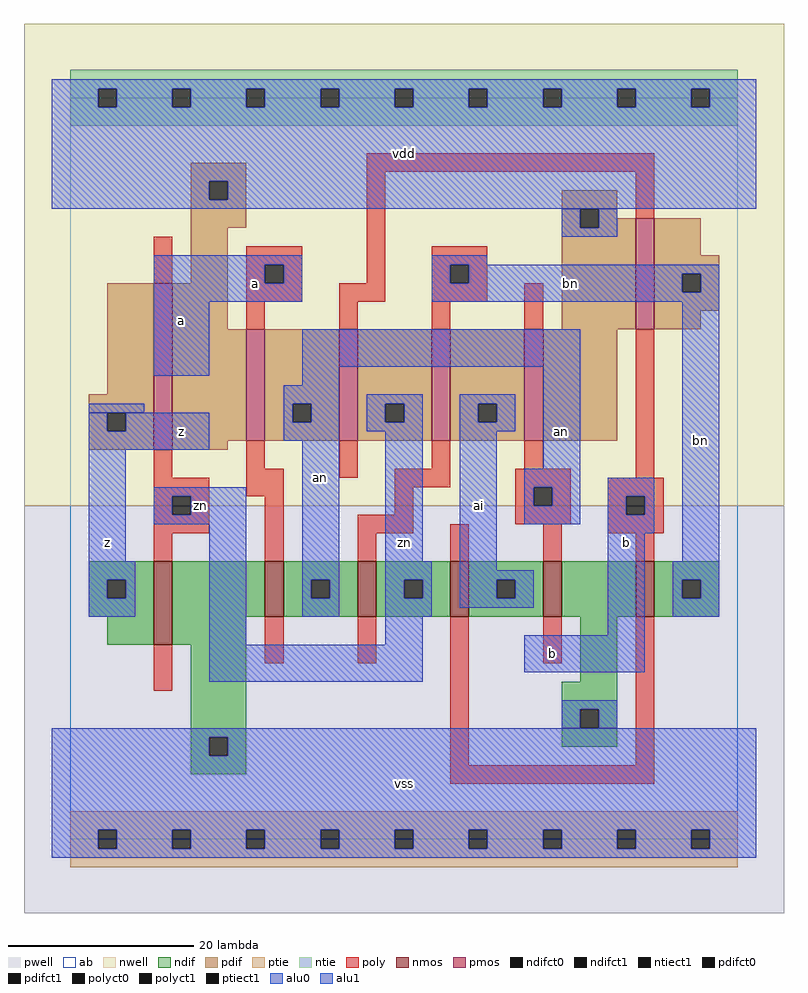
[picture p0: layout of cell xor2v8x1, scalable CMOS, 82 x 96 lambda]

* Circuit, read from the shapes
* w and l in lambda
.subckt xor2v8x1 a ai an b bn vdd vss z zn
M1 vss zn z vss nfet w=9 l=2
M2 an a vss vss nfet w=6 l=2
M3 zn bn an vss nfet w=6 l=2
M4 ai b zn vss nfet w=6 l=2
M5 vss an ai vss nfet w=6 l=2
M6 bn b vss vss nfet w=6 l=2
M7 vdd zn z vdd pfet w=18 l=2
M8 an a vdd vdd pfet w=12 l=2
M9 zn b an vdd pfet w=12 l=2
M10 ai bn zn vdd pfet w=12 l=2
M11 vdd an ai vdd pfet w=12 l=2
M12 bn b vdd vdd pfet w=12 l=2
.ends

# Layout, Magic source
magic
tech scmos
<< ab >>
rect 0 0 72 80
<< nwell >>
rect -5 36 77 88
<< pwell >>
rect -5 -8 77 36
<< poly >>
rect 32 72 63 74
rect 9 60 11 65
rect 19 62 25 64
rect 19 60 21 62
rect 23 60 25 62
rect 32 60 34 72
rect 61 67 63 72
rect 19 58 25 60
rect 29 58 34 60
rect 39 62 45 64
rect 39 60 41 62
rect 43 60 45 62
rect 39 58 45 60
rect 19 55 21 58
rect 29 55 31 58
rect 39 55 41 58
rect 49 55 51 60
rect 9 39 11 42
rect 19 40 21 43
rect 9 37 15 39
rect 19 37 23 40
rect 29 39 31 43
rect 39 40 41 43
rect 49 40 51 43
rect 9 35 11 37
rect 13 35 15 37
rect 9 33 15 35
rect 9 30 11 33
rect 21 30 23 37
rect 35 38 41 40
rect 48 38 54 40
rect 61 39 63 55
rect 35 35 37 38
rect 31 33 37 35
rect 48 36 50 38
rect 52 36 54 38
rect 48 34 54 36
rect 58 37 64 39
rect 58 35 60 37
rect 62 35 64 37
rect 31 30 33 33
rect 41 30 43 34
rect 51 30 53 34
rect 58 33 64 35
rect 61 30 63 33
rect 9 16 11 21
rect 21 19 23 24
rect 31 19 33 24
rect 41 8 43 24
rect 51 19 53 24
rect 61 8 63 24
rect 41 6 63 8
<< ndif >>
rect 2 28 9 30
rect 2 26 4 28
rect 6 26 9 28
rect 2 24 9 26
rect 4 21 9 24
rect 11 24 21 30
rect 23 28 31 30
rect 23 26 26 28
rect 28 26 31 28
rect 23 24 31 26
rect 33 28 41 30
rect 33 26 36 28
rect 38 26 41 28
rect 33 24 41 26
rect 43 28 51 30
rect 43 26 46 28
rect 48 26 51 28
rect 43 24 51 26
rect 53 24 61 30
rect 63 28 70 30
rect 63 26 66 28
rect 68 26 70 28
rect 63 24 70 26
rect 11 21 19 24
rect 13 11 19 21
rect 13 9 15 11
rect 17 9 19 11
rect 13 7 19 9
rect 55 17 59 24
rect 53 14 59 17
rect 53 12 55 14
rect 57 12 59 14
rect 53 10 59 12
<< pdif >>
rect 13 71 19 73
rect 13 69 15 71
rect 17 69 19 71
rect 13 66 19 69
rect 13 60 17 66
rect 4 48 9 60
rect 2 46 9 48
rect 2 44 4 46
rect 6 44 9 46
rect 2 42 9 44
rect 11 55 17 60
rect 53 68 59 70
rect 53 66 55 68
rect 57 67 59 68
rect 57 66 61 67
rect 53 55 61 66
rect 63 63 68 67
rect 63 61 70 63
rect 63 59 66 61
rect 68 59 70 61
rect 63 57 70 59
rect 63 55 68 57
rect 11 43 19 55
rect 21 47 29 55
rect 21 45 24 47
rect 26 45 29 47
rect 21 43 29 45
rect 31 47 39 55
rect 31 45 34 47
rect 36 45 39 47
rect 31 43 39 45
rect 41 47 49 55
rect 41 45 44 47
rect 46 45 49 47
rect 41 43 49 45
rect 51 43 59 55
rect 11 42 17 43
<< alu1 >>
rect -2 81 74 82
rect -2 79 3 81
rect 5 79 11 81
rect 13 79 19 81
rect 21 79 27 81
rect 29 79 35 81
rect 37 79 43 81
rect 45 79 51 81
rect 53 79 59 81
rect 61 79 67 81
rect 69 79 74 81
rect -2 71 74 79
rect -2 69 15 71
rect 17 69 74 71
rect -2 68 74 69
rect 9 62 25 63
rect 9 60 21 62
rect 23 60 25 62
rect 9 58 25 60
rect 9 50 15 58
rect 2 44 4 46
rect 6 44 15 46
rect 2 42 15 44
rect 2 30 6 42
rect 2 28 7 30
rect 2 26 4 28
rect 6 26 7 28
rect 2 24 7 26
rect 58 37 63 39
rect 58 35 60 37
rect 62 35 63 37
rect 58 33 63 35
rect 58 22 62 33
rect 49 18 62 22
rect -2 11 74 12
rect -2 9 15 11
rect 17 9 74 11
rect -2 1 74 9
rect -2 -1 3 1
rect 5 -1 11 1
rect 13 -1 19 1
rect 21 -1 27 1
rect 29 -1 35 1
rect 37 -1 43 1
rect 45 -1 51 1
rect 53 -1 59 1
rect 61 -1 67 1
rect 69 -1 74 1
rect -2 -2 74 -1
<< ptie >>
rect 0 1 72 3
rect 0 -1 3 1
rect 5 -1 11 1
rect 13 -1 19 1
rect 21 -1 27 1
rect 29 -1 35 1
rect 37 -1 43 1
rect 45 -1 51 1
rect 53 -1 59 1
rect 61 -1 67 1
rect 69 -1 72 1
rect 0 -3 72 -1
<< ntie >>
rect 0 81 72 83
rect 0 79 3 81
rect 5 79 11 81
rect 13 79 19 81
rect 21 79 27 81
rect 29 79 35 81
rect 37 79 43 81
rect 45 79 51 81
rect 53 79 59 81
rect 61 79 67 81
rect 69 79 72 81
rect 0 77 72 79
<< nmos >>
rect 9 21 11 30
rect 21 24 23 30
rect 31 24 33 30
rect 41 24 43 30
rect 51 24 53 30
rect 61 24 63 30
<< pmos >>
rect 9 42 11 60
rect 61 55 63 67
rect 19 43 21 55
rect 29 43 31 55
rect 39 43 41 55
rect 49 43 51 55
<< polyct0 >>
rect 41 60 43 62
rect 11 35 13 37
rect 50 36 52 38
<< polyct1 >>
rect 21 60 23 62
rect 60 35 62 37
<< ndifct0 >>
rect 26 26 28 28
rect 36 26 38 28
rect 46 26 48 28
rect 66 26 68 28
rect 55 12 57 14
<< ndifct1 >>
rect 4 26 6 28
rect 15 9 17 11
<< ntiect1 >>
rect 3 79 5 81
rect 11 79 13 81
rect 19 79 21 81
rect 27 79 29 81
rect 35 79 37 81
rect 43 79 45 81
rect 51 79 53 81
rect 59 79 61 81
rect 67 79 69 81
<< ptiect1 >>
rect 3 -1 5 1
rect 11 -1 13 1
rect 19 -1 21 1
rect 27 -1 29 1
rect 35 -1 37 1
rect 43 -1 45 1
rect 51 -1 53 1
rect 59 -1 61 1
rect 67 -1 69 1
<< pdifct0 >>
rect 55 66 57 68
rect 66 59 68 61
rect 24 45 26 47
rect 34 45 36 47
rect 44 45 46 47
<< pdifct1 >>
rect 15 69 17 71
rect 4 44 6 46
<< alu0 >>
rect 53 66 55 68
rect 57 66 59 68
rect 53 65 59 66
rect 39 62 45 63
rect 39 60 41 62
rect 43 61 70 62
rect 43 60 66 61
rect 39 59 66 60
rect 68 59 70 61
rect 39 58 70 59
rect 25 51 55 55
rect 25 49 29 51
rect 23 47 29 49
rect 2 46 8 47
rect 23 45 24 47
rect 26 45 29 47
rect 23 43 29 45
rect 32 47 38 48
rect 32 45 34 47
rect 36 45 38 47
rect 32 44 38 45
rect 9 37 19 38
rect 9 35 11 37
rect 13 35 19 37
rect 9 34 19 35
rect 15 21 19 34
rect 25 28 29 43
rect 25 26 26 28
rect 28 26 29 28
rect 25 24 29 26
rect 34 30 38 44
rect 42 47 48 48
rect 42 45 44 47
rect 46 45 48 47
rect 42 44 48 45
rect 34 28 39 30
rect 34 26 36 28
rect 38 26 39 28
rect 34 24 39 26
rect 42 29 46 44
rect 51 40 55 51
rect 49 38 55 40
rect 49 36 50 38
rect 52 36 55 38
rect 49 34 55 36
rect 42 28 50 29
rect 42 26 46 28
rect 48 26 50 28
rect 42 25 50 26
rect 34 21 38 24
rect 66 30 70 58
rect 65 28 70 30
rect 65 26 66 28
rect 68 26 70 28
rect 65 24 70 26
rect 15 17 38 21
rect 53 14 59 15
rect 53 12 55 14
rect 57 12 59 14
<< labels >>
rlabel alu0 14 36 14 36 6 zn
rlabel alu0 27 39 27 39 6 an
rlabel alu0 44 36 44 36 6 ai
rlabel alu0 36 32 36 32 6 zn
rlabel alu0 53 44 53 44 6 an
rlabel alu0 54 60 54 60 6 bn
rlabel alu0 68 43 68 43 6 bn
rlabel alu1 4 32 4 32 6 z
rlabel alu1 12 44 12 44 6 z
rlabel alu1 12 56 12 56 6 a
rlabel alu1 20 60 20 60 6 a
rlabel alu1 36 6 36 6 6 vss
rlabel alu1 52 20 52 20 6 b
rlabel alu1 36 74 36 74 6 vdd
rlabel alu1 60 32 60 32 6 b
<< end >>
